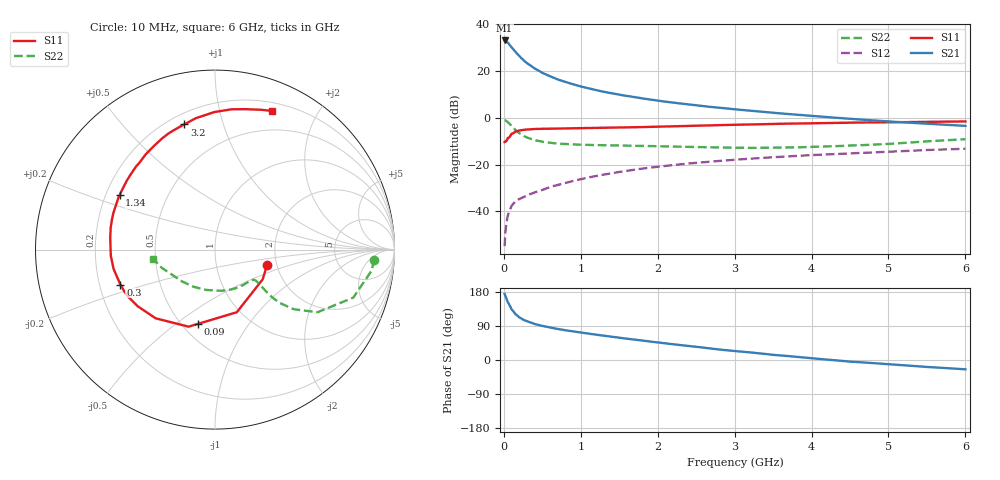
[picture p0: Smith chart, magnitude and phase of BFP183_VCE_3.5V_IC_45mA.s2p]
! Infineon Technologies  Discrete & RF Semiconductors
! BFP183
! VCE = 3.5 V,  IC =  45 mA
! Common Emitter S-Parameters:  Jan 2016
# GHz  S  MA  R  50
!  f  S11  S21  S12  S22
! GHz  MAG  ANG  MAG  ANG  MAG  ANG  MAG  ANG
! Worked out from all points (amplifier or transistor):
!   210 points, 10 MHz to 6 GHz, reference 50 ohm
!   highest |S21| = 33.0 dB at 10 MHz (marker M1)
!   |S21| within 3 dB of that: start of sweep to 104 MHz
!   unconditionally stable (mu >= 1): start of sweep to 12.77 MHz; 411 MHz to end of sweep
!   at 185 MHz: K = 0.64, MSG = 31.0 dB, |S12| = -35.0 dB
!   at 1.52 GHz: K = 1.30, MAG = 13.1 dB, |S12| = -23.1 dB
!   at 6 GHz: K = 1.02, MAG = 4.0 dB, |S12| = -13.2 dB
!   S11 on the Smith chart (normalised r, x): 10 MHz: 1.78, -0.33; 90 MHz: 0.60, -0.61; 300 MHz: 0.29, -0.16; 1.34 GHz: 0.26, +0.25; 3.2 GHz: 0.26, +0.75; 6 GHz: 0.28, +1.45
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0.01  0.3027 -16.2  44.92 174.3  0.0018 73.2  0.8901 -3.6
0.02  0.3132 -32.1  44.57 168.9  0.0035 77.3  0.8792 -7.8
0.05  0.3695 -70.8  41 153.1  0.008 74.4  0.816 -19.1
0.09  0.4237 -102.7  33.76 138.5  0.0119 60.0  0.696 -28.5
0.1  0.4539 -108.9  32.38 133.9  0.013 57.8  0.6696 -31.4
0.15  0.5058 -130.8  25.68 121.1  0.0163 53.1  0.5508 -37.1
0.2  0.5345 -143.9  20.81 112.7  0.0183 52.2  0.4702 -39.4
0.24  0.5493 -151.1  17.96 107.9  0.0196 51.9  0.4271 -39.8
0.3  0.562 -159.7  14.73 102.0  0.0219 51.7  0.3781 -39.5
0.4  0.5752 -169.2  11.33 95.0  0.0253 54.7  0.3328 -38.4
0.5  0.5813 -176.4  9.128 89.9  0.0286 55.8  0.3066 -37.7
0.6  0.583 178.1  7.707 85.6  0.0329 57.7  0.2915 -37.3
0.7  0.588 173.1  6.577 81.8  0.0367 59.1  0.2812 -37.4
0.8  0.5935 168.8  5.812 78.4  0.0405 59.4  0.2744 -37.8
1.02  0.6018 160.2  4.578 71.8  0.0494 60.5  0.2647 -40.0
1.34  0.6124 150.1  3.486 63.1  0.0627 59.4  0.2577 -44.9
2.02  0.6429 130.4  2.296 45.9  0.0904 54.5  0.2462 -59.0
3.1  0.7125 105.7  1.466 22.0  0.13 44.4  0.2279 -89.5
3.2  0.7182 103.8  1.416 20.1  0.1333 43.4  0.2274 -92.8
4.1  0.7698 88.8  1.066 2.9  0.1618 34.8  0.2403 -122.9
5.1  0.8038 76.6  0.815 -12.5  0.1901 26.5  0.2824 -151.9
6  0.8348 67.8  0.671 -24.6  0.2176 17.6  0.3491 -171.7
